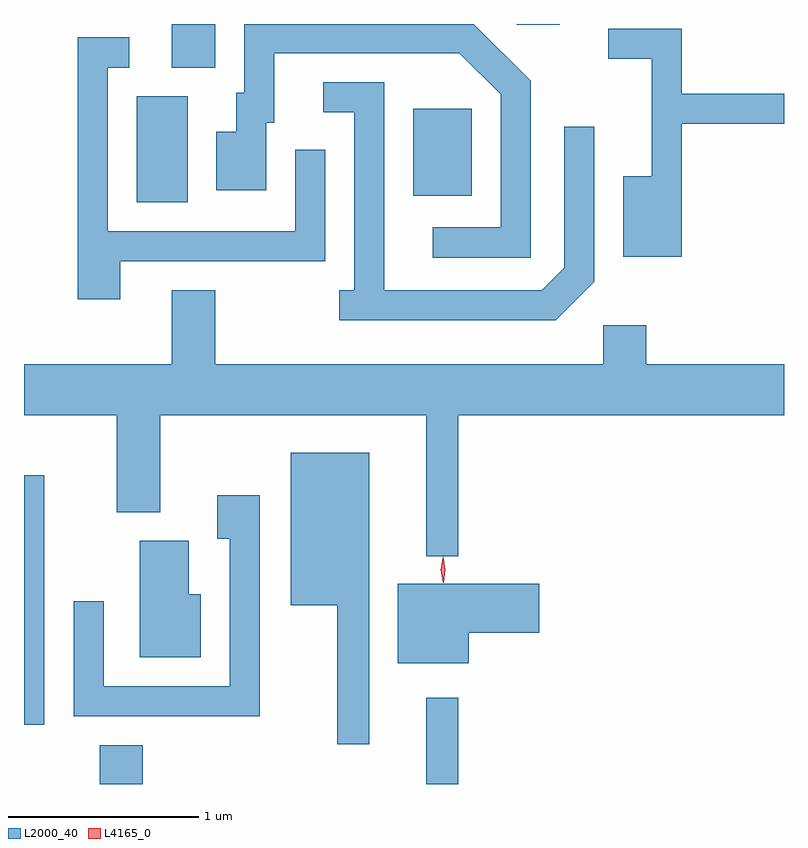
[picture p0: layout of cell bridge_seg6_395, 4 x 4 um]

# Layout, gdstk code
import gdstk
lib = gdstk.Library(unit=1e-6, precision=1e-09)
def R(c, l, rs):  # rectangles x0, y0, x1, y1
    for r in rs: c.add(gdstk.rectangle(r[:2], r[2:], *l))
def P(c, l, *ps):  # polygons
    for p in ps: c.add(gdstk.Polygon(p, *l))
L2000_40 = (2000, 40)
L4165_0 = (4165, 0)

bridge_seg6_395 = lib.new_cell('bridge_seg6_395')
R(bridge_seg6_395, L2000_40, [(920.991,1641.335,921.219,1641.539), (922.711,1641.335,922.879,1641.788), (920.593,1641.646,920.699,1642.959), (921.186,1644.396,921.454,1644.954), (922.641,1644.431,922.949,1644.889), (921.371,1645.106,921.599,1645.335), (923.186,1645.331,923.414,1645.335)])
P(bridge_seg6_395, L2000_40, [(923.259,1645.037),(922.961,1645.335),(921.751,1645.335),(921.751,1644.974),(921.711,1644.974),(921.711,1644.769),(921.606,1644.769),(921.606,1644.461),(921.869,1644.461),(921.869,1644.816),(921.909,1644.816),(921.909,1645.181),(922.884,1645.181),(923.101,1644.964),(923.101,1644.264),(922.743,1644.264),(922.743,1644.106),(923.259,1644.106)],
  [(924.054,1644.811),(924.593,1644.811),(924.593,1644.969),(924.054,1644.969),(924.054,1645.309),(923.668,1645.309),(923.668,1645.151),(923.896,1645.151),(923.896,1644.534),(923.746,1644.534),(923.746,1644.111),(924.054,1644.111)],
  [(921.099,1644.086),(922.179,1644.086),(922.179,1644.673),(922.021,1644.673),(922.021,1644.244),(921.034,1644.244),(921.034,1645.106),(921.148,1645.106),(921.148,1645.264),(920.876,1645.264),(920.876,1643.886),(921.099,1643.886)],
  [(923.594,1643.979),(923.594,1644.793),(923.436,1644.793),(923.436,1644.052),(923.319,1643.934),(922.489,1643.934),(922.489,1645.029),(922.168,1645.029),(922.168,1644.871),(922.331,1644.871),(922.331,1643.934),(922.253,1643.934),(922.253,1643.776),(923.392,1643.776)],
  [(922.879,1643.276),(924.593,1643.276),(924.593,1643.544),(923.869,1643.544),(923.869,1643.749),(923.641,1643.749),(923.641,1643.544),(921.599,1643.544),(921.599,1643.934),(921.371,1643.934),(921.371,1643.544),(920.593,1643.544),(920.593,1643.276),(921.081,1643.276),(921.081,1642.766),(921.309,1642.766),(921.309,1643.276),(922.711,1643.276),(922.711,1642.533),(922.879,1642.533)],
  [(922.409,1643.079),(921.996,1643.079),(921.996,1642.276),(922.241,1642.276),(922.241,1641.543),(922.409,1641.543)],
  [(921.834,1642.854),(921.611,1642.854),(921.611,1642.626),(921.676,1642.626),(921.676,1641.849),(921.014,1641.849),(921.014,1642.298),(920.856,1642.298),(920.856,1641.691),(921.834,1641.691)],
  [(921.524,1642.334),(921.459,1642.334),(921.459,1642.614),(921.201,1642.614),(921.201,1642.001),(921.524,1642.001)],
  [(922.934,1642.131),(923.304,1642.131),(923.304,1642.389),(922.561,1642.389),(922.561,1641.971),(922.934,1641.971)])
P(bridge_seg6_395, L4165_0, [(922.8,1642.394),(922.8,1642.394),(922.79,1642.462),(922.799,1642.53),(922.8,1642.53),(922.8,1642.53),(922.81,1642.462),(922.801,1642.394)],
  [(922.797,1642.4),(922.797,1642.4),(922.787,1642.463),(922.797,1642.526),(922.797,1642.527),(922.798,1642.526),(922.807,1642.463),(922.798,1642.4)])

lib.write_gds('bridge_seg6_395.gds')
